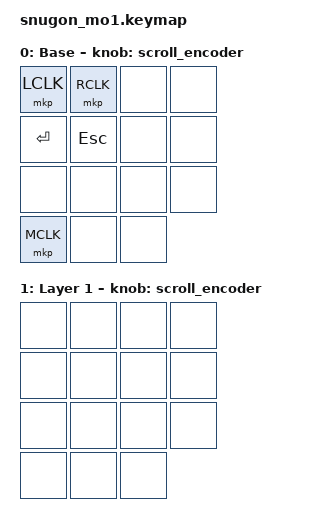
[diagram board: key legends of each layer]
/*
 * Copyright (c) 2024 Shota Nishide
 * SPDX-License-Identifier: MIT
 */

#include <behaviors.dtsi>
#include <dt-bindings/zmk/keys.h>
#include <dt-bindings/zmk/bt.h>
#include <dt-bindings/zmk/outputs.h>
#include <dt-bindings/zmk/pointing.h>

/ {
    behaviors {
        scroll_encoder: scroll_encoder {
            compatible = "zmk,behavior-sensor-rotate";
            #sensor-binding-cells = <0>;
            bindings = <&msc SCRL_DOWN>, <&msc SCRL_UP>;
        };

        // DPI control behaviors (placeholder - actual DPI control requires driver modification)
        dpi_up: dpi_up {
            compatible = "zmk,behavior-macro";
            #binding-cells = <0>;
            bindings = <&kp F13>; // Placeholder key for DPI up
        };

        dpi_down: dpi_down {
            compatible = "zmk,behavior-macro";
            #binding-cells = <0>;
            bindings = <&kp F14>; // Placeholder key for DPI down
        };

        dpi_zero: dpi_zero {
            compatible = "zmk,behavior-hold-tap";
            #binding-cells = <2>;
            tapping-term-ms = <200>;
            quick-tap-ms = <0>;
            flavor = "hold-preferred";
            bindings = <&kp>, <&none>;
        };

        battery_check: battery_check {
            compatible = "zmk,behavior-macro";
            #binding-cells = <0>;
            bindings = <&kp F15>; // Placeholder for battery check
        };
    };

    keymap {
        compatible = "zmk,keymap";

        default_layer {
            display-name = "Base";
            // Layout matches the physical button arrangement:
            // Button 1-4:  Index finger (2), Middle finger (2)
            // Button 5-8:  Thumb (2), Ring finger (2)
            // Button 9-12: Pinky (2), Wheel area (2)
            // Button 13-15: Wheel click, spare positions
            bindings = <
                &mkp LCLK   &mkp RCLK   &none       &none       // Index & Middle main buttons
                &kp ENTER   &kp ESC     &none       &none       // Thumb buttons & Ring finger
                &none       &none       &none       &none       // Pinky & Wheel area buttons
                &mkp MCLK   &none       &none                   // Wheel click & spare
            >;
            
            sensor-bindings = <&scroll_encoder>;
        };

        // Layer 1-31 are left undefined for user customization
        layer_1 {
            display-name = "Layer 1";
            bindings = <
                &none   &none   &none   &none
                &none   &none   &none   &none
                &none   &none   &none   &none
                &none   &none   &none
            >;
            
            sensor-bindings = <&scroll_encoder>;
        };
    };

};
